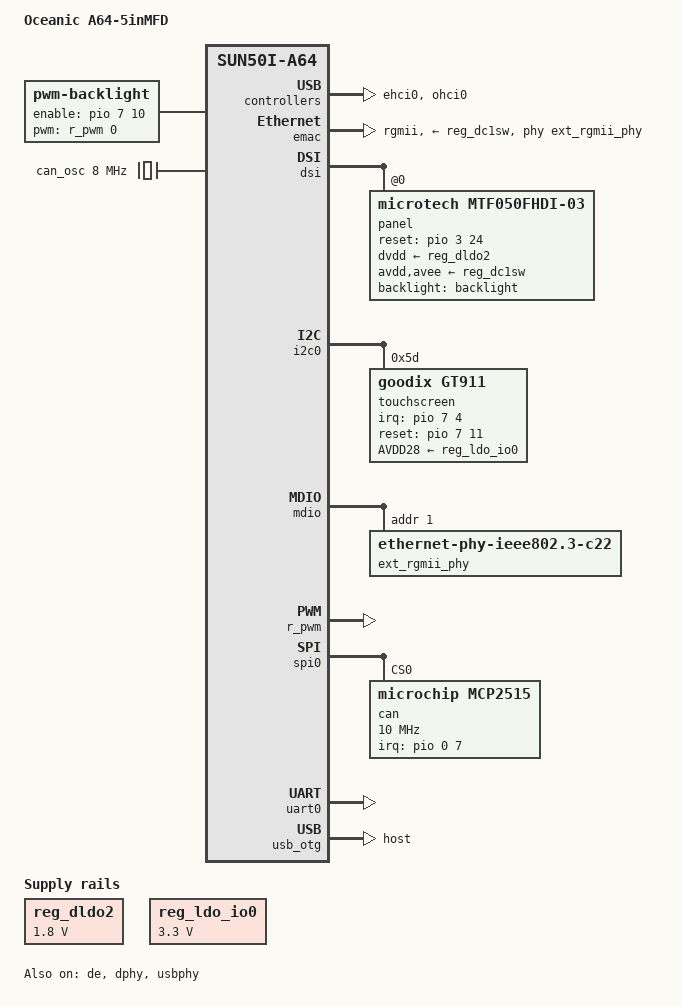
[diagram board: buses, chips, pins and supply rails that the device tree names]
// SPDX-License-Identifier: (GPL-2.0+ OR MIT)
/*
 * Copyright (C) 2019 Amarula Solutions B.V.
 * Author: Jagan Teki <jagan@amarulasolutions.com>
 */

/dts-v1/;

#include "sun50i-a64-sopine.dtsi"

#include <dt-bindings/pwm/pwm.h>

/ {
	model = "Oceanic A64-5inMFD";
	compatible = "oceanic,a64-5inmfd", "allwinner,sun50i-a64";

	aliases {
		ethernet0 = &emac;
		serial0 = &uart0;
	};

	chosen {
		stdout-path = "serial0:115200n8";
	};

	backlight: backlight {
		compatible = "pwm-backlight";
		pwms = <&r_pwm 0 50000 PWM_POLARITY_INVERTED>;
		brightness-levels = <1 2 4 8 16 32 64 128 512>;
		default-brightness-level = <8>;
		enable-gpios = <&pio 7 10 GPIO_ACTIVE_HIGH>; /* LCD-BL-EN: PH10 */
	};

	can_osc: can-osc {
		compatible = "fixed-clock";
		#clock-cells = <0>;
		clock-frequency = <8000000>;
	};
};

&ehci0 {
	status = "okay";
};

&emac {
	pinctrl-names = "default";
	pinctrl-0 = <&rgmii_pins>;
	phy-mode = "rgmii";
	phy-handle = <&ext_rgmii_phy>;
	phy-supply = <&reg_dc1sw>;
	status = "okay";
};

&de {
	status = "okay";
};

&dphy {
	status = "okay";
};

&dsi {
	vcc-dsi-supply = <&reg_dldo1>;		/* VCC3V3-DSI */
	#address-cells = <1>;
	#size-cells = <0>;
	status = "okay";

	panel@0 {
		compatible = "microtech,mtf050fhdi-03", "novatek,nt35596";
		reg = <0>;
		dvdd-supply = <&reg_dldo2>;	/* VCC-MIPI */
		avdd-supply = <&reg_dc1sw>;	/* AVDD_5V0 */
		avee-supply = <&reg_dc1sw>;	/* AVEE_5V */
		reset-gpios = <&pio 3 24 GPIO_ACTIVE_HIGH>; /* LCD-RST: PD24 */
		backlight = <&backlight>;
	};
};

&i2c0 {
	pinctrl-names = "default";
	pinctrl-0 = <&i2c0_pins>;
	status = "okay";

	touchscreen@5d {
		compatible = "goodix,gt911";
		reg = <0x5d>;
		AVDD28-supply = <&reg_ldo_io0>;			/* VDD_CTP: GPIO0-LDO */
		interrupt-parent = <&pio>;
		interrupts = <7 4 IRQ_TYPE_EDGE_FALLING>;
		irq-gpios = <&pio 7 4 GPIO_ACTIVE_HIGH>;	/* CTP-INT: PH4 */
		reset-gpios = <&pio 7 11 GPIO_ACTIVE_HIGH>;	/* CTP-RST: PH11 */
		touchscreen-inverted-x;
		touchscreen-inverted-y;
	};
};

&i2c0_pins {
	bias-pull-up;
};

&mdio {
	ext_rgmii_phy: ethernet-phy@1 {
		compatible = "ethernet-phy-ieee802.3-c22";
		reg = <1>;
	};
};

&reg_dc1sw {
	regulator-name = "vcc-phy";
};

&reg_dldo2 {
	regulator-min-microvolt = <1800000>;
	regulator-max-microvolt = <1800000>;
	regulator-name = "vcc-mipi";
};

&reg_ldo_io0 {
	regulator-min-microvolt = <3300000>;
	regulator-max-microvolt = <3300000>;
	regulator-name = "vdd-ctp";
	status = "okay";
};

&ohci0 {
	status = "okay";
};

&r_pwm {
	pinctrl-names = "default";
	pinctrl-0 = <&r_pwm_pin>;
	status = "okay";
};

&spi0 {
	status = "okay";

	can@0 {
		compatible = "microchip,mcp2515";
		reg = <0>;
		spi-max-frequency = <10000000>;
		interrupt-parent = <&pio>;
		interrupts = <0 7 IRQ_TYPE_EDGE_FALLING>;
		irq-gpios = <&pio 0 7 GPIO_ACTIVE_HIGH>;	/* INT_CAN0: PA7 */
		clocks = <&can_osc>;
	};
};

&uart0 {
	pinctrl-names = "default";
	pinctrl-0 = <&uart0_pb_pins>;
	status = "okay";
};

&usb_otg {
	dr_mode = "host";
	status = "okay";
};

&usbphy {
	status = "okay";
};
